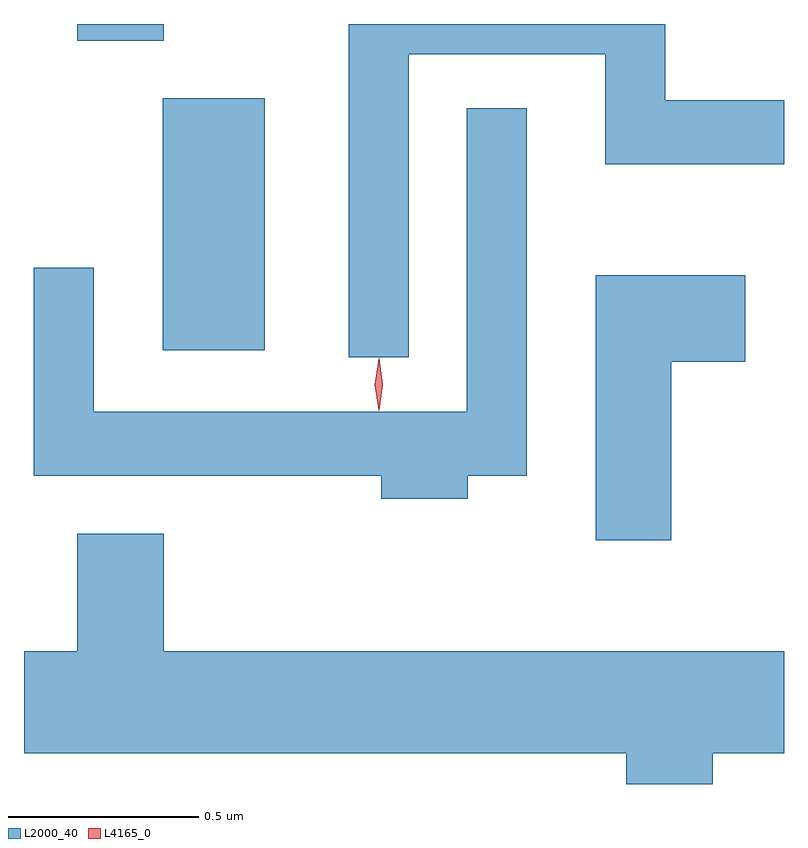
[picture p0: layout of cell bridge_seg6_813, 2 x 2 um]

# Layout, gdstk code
import gdstk
lib = gdstk.Library(unit=1e-6, precision=1e-09)
def R(c, l, rs):  # rectangles x0, y0, x1, y1
    for r in rs: c.add(gdstk.rectangle(r[:2], r[2:], *l))
def P(c, l, *ps):  # polygons
    for p in ps: c.add(gdstk.Polygon(p, *l))
L2000_40 = (2000, 40)
L4165_0 = (4165, 0)

bridge_seg6_813 = lib.new_cell('bridge_seg6_813')
R(bridge_seg6_813, L2000_40, [(418.396,1579.956,418.664,1580.619), (418.171,1580.771,418.399,1580.815)])
P(bridge_seg6_813, L2000_40, [(419.044,1580.736),(419.561,1580.736),(419.561,1580.446),(420.031,1580.446),(420.031,1580.614),(419.719,1580.614),(419.719,1580.815),(418.886,1580.815),(418.886,1579.938),(419.044,1579.938)],
  [(419.199,1579.626),(419.354,1579.626),(419.354,1580.593),(419.196,1580.593),(419.196,1579.794),(418.214,1579.794),(418.214,1580.173),(418.056,1580.173),(418.056,1579.626),(418.971,1579.626),(418.971,1579.566),(419.199,1579.566)],
  [(419.734,1579.926),(419.929,1579.926),(419.929,1580.154),(419.536,1580.154),(419.536,1579.456),(419.734,1579.456)],
  [(419.844,1578.896),(420.031,1578.896),(420.031,1579.164),(418.399,1579.164),(418.399,1579.474),(418.171,1579.474),(418.171,1579.164),(418.031,1579.164),(418.031,1578.896),(419.616,1578.896),(419.616,1578.815),(419.844,1578.815)])
P(bridge_seg6_813, L4165_0, [(418.965,1579.797),(418.964,1579.798),(418.955,1579.866),(418.964,1579.936),(418.965,1579.936),(418.966,1579.936),(418.975,1579.866),(418.966,1579.798)],
  [(418.964,1579.799),(418.964,1579.8),(418.954,1579.866),(418.964,1579.932),(418.964,1579.933),(418.965,1579.932),(418.974,1579.866),(418.965,1579.8)])

lib.write_gds('bridge_seg6_813.gds')
